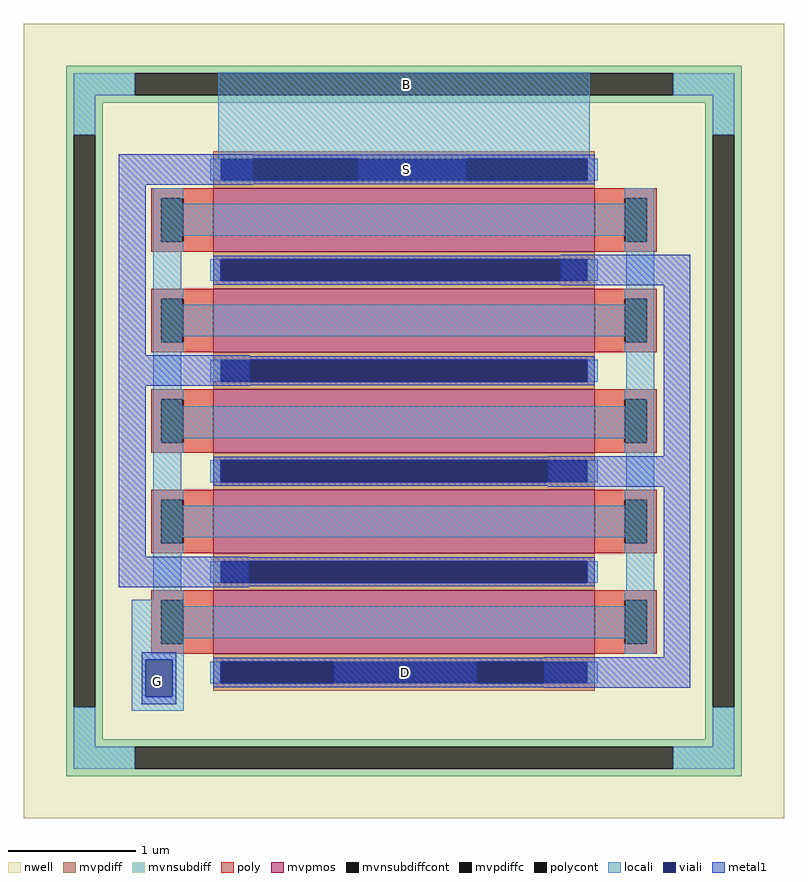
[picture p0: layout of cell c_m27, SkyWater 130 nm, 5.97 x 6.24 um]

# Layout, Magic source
magic
tech sky130A
magscale 1 2
<< locali >>
rect 232 906 816 1076
rect 130 870 174 895
rect 873 870 917 895
rect 130 820 917 870
rect 130 712 174 820
rect 873 712 917 820
rect 130 662 917 712
rect 130 552 174 662
rect 873 552 917 662
rect 130 502 917 552
rect 130 396 174 502
rect 873 396 917 502
rect 130 346 917 396
rect 130 248 174 346
rect 96 238 178 248
rect 873 238 917 346
rect 96 188 917 238
rect 96 154 178 188
rect 873 163 917 188
rect 96 96 118 154
rect 160 96 178 154
rect 96 74 178 96
<< viali >>
rect 118 96 160 154
<< metal1 >>
rect 76 900 286 948
rect 452 906 622 940
rect 76 632 118 900
rect 770 742 974 790
rect 76 584 282 632
rect 76 316 118 584
rect 932 474 974 742
rect 750 426 974 474
rect 76 268 280 316
rect 112 154 166 166
rect 932 158 974 426
rect 112 96 118 154
rect 160 96 166 154
rect 414 116 638 152
rect 744 110 974 158
rect 112 84 166 96
use sky130_fd_pr__pfet_g5v0d10v5_V8LA8L  sky130_fd_pr__pfet_g5v0d10v5_V8LA8L_0
transform 0 1 524 -1 0 529
box -624 -597 624 597
<< labels >>
flabel metal1 526 134 526 134 0 FreeSans 800 0 0 0 D
port 0 nsew
flabel viali 136 120 136 120 0 FreeSans 800 0 0 0 G
port 1 nsew
flabel metal1 528 924 528 924 0 FreeSans 800 0 0 0 S
port 2 nsew
flabel locali 528 1058 528 1058 0 FreeSans 800 0 0 0 B
port 3 nsew
<< end >>

# cell sky130_fd_pr__pfet_g5v0d10v5_V8LA8L: kit device sky130_fd_pr__pfet_g5v0d10v5, w 3 l 0.5 m 1 nf 5 diffcov 100 polycov 100 guard 1 glc 1 grc 1 gtc 1 gbc 1 tbcov 100 rlcov 100 topc 1 botc 1 poverlap 0 doverlap 1 lmin 0.50 wmin 0.42 class mosfet compatible {sky130_fd_pr__pfet_01v8 sky130_fd_pr__pfet_01v8_lvt sky130_fd_pr__pfet_01v8_hvt sky130_fd_pr__pfet_g5v0d10v5} full_metal 1 conn_gates 0 viasrc 100 viadrn 100 viagate 100 viagb 0 viagr 0 viagl 0 viagt 0 doports 1
